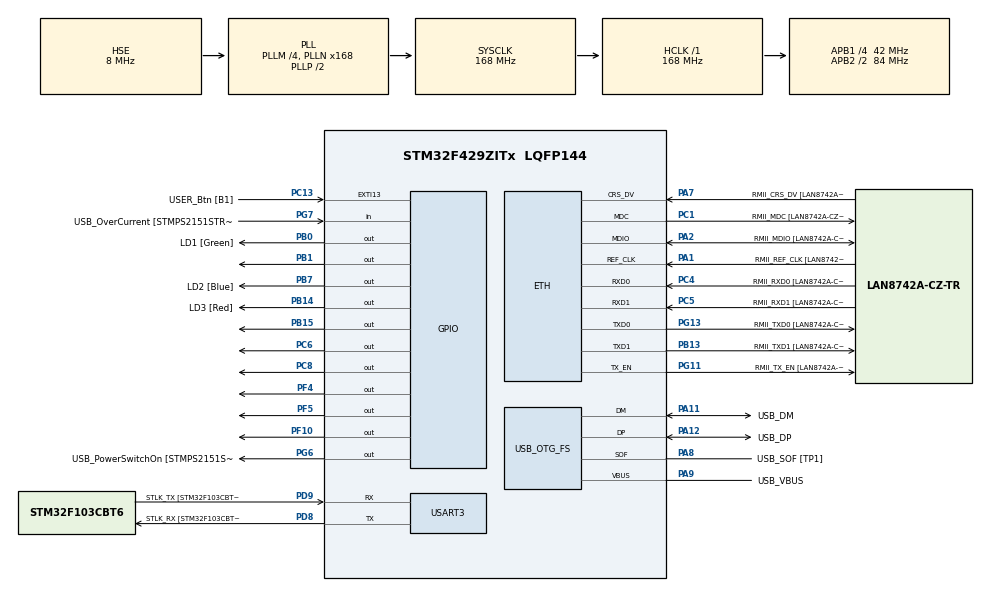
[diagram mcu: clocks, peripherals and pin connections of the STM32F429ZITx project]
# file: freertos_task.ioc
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ETH.MediaInterface=HAL_ETH_RMII_MODE
ETH.PHY_Name=LAN8742A_PHY_ADDRESS
ETH.PHY_Value=0
ETH.PhyAddress=0
FREERTOS.INCLUDE_vTaskDelayUntil=1
FREERTOS.Queues01=myQueue01,16,Data_t,0,Dynamic,NULL,NULL
FREERTOS.Tasks01=defaultTask,0,128,StartDefaultTask,Default,NULL,Dynamic,NULL,NULL;myTask01,0,128,StartTask01,Default,NULL,Dynamic,NULL,NULL;myTask02,0,128,StartTask02,Default,NULL,Dynamic,NULL,NULL;myTask03,0,128,StartTask03,Default,NULL,Dynamic,NULL,NULL;myTask04,-1,128,StartTask04,Default,NULL,Static,myTask04Buffer,myTask04ControlBlock
FREERTOS.configUSE_APPLICATION_TASK_TAG=1
FREERTOS.configUSE_IDLE_HOOK=1
FREERTOS.configUSE_NEWLIB_REENTRANT=1
FREERTOS.configUSE_TICK_HOOK=1
Mcu.Family=STM32F4
Mcu.Name=STM32F429ZITx
Mcu.Package=LQFP144
NVIC.PriorityGroup=NVIC_PRIORITYGROUP_4
PA1.GPIO_Label=RMII_REF_CLK [LAN8742A-CZ-TR_REFCLK0]
PA1.Mode=RMII
PA1.Signal=ETH_REF_CLK
PA10.GPIO_Label=USB_ID
PA10.Signal=USB_OTG_FS_ID
PA11.GPIO_Label=USB_DM
PA11.Mode=Device_Only
PA11.Signal=USB_OTG_FS_DM
PA12.GPIO_Label=USB_DP
PA12.Mode=Device_Only
PA12.Signal=USB_OTG_FS_DP
PA13.GPIO_Label=TMS
PA13.Mode=Serial_Wire
PA13.Signal=SYS_JTMS-SWDIO
PA14.GPIO_Label=TCK
PA14.Mode=Serial_Wire
PA14.Signal=SYS_JTCK-SWCLK
PA2.GPIO_Label=RMII_MDIO [LAN8742A-CZ-TR_MDIO]
PA2.Mode=RMII
PA2.Signal=ETH_MDIO
PA7.GPIO_Label=RMII_CRS_DV [LAN8742A-CZ-TR_CRS_DV]
PA7.Mode=RMII
PA7.Signal=ETH_CRS_DV
PA8.GPIO_Label=USB_SOF [TP1]
PA8.Mode=Activate_SOF_FS
PA8.Signal=USB_OTG_FS_SOF
PA9.GPIO_Label=USB_VBUS
PA9.Mode=Activate_VBUS
PA9.Signal=USB_OTG_FS_VBUS
PB0.GPIO_Label=LD1 [Green]
PB0.Signal=GPIO_Output
PB1.Signal=GPIO_Output
PB13.GPIO_Label=RMII_TXD1 [LAN8742A-CZ-TR_TXD1]
PB13.Mode=RMII
PB13.Signal=ETH_TXD1
PB14.GPIO_Label=LD3 [Red]
PB14.Signal=GPIO_Output
PB15.Signal=GPIO_Output
PB7.GPIO_Label=LD2 [Blue]
PB7.Signal=GPIO_Output
PC1.GPIO_Label=RMII_MDC [LAN8742A-CZ-TR_MDC]
PC1.Mode=RMII
PC1.Signal=ETH_MDC
PC13.GPIO_Label=USER_Btn [B1]
PC13.Signal=GPXTI13
PC14/OSC32_IN.Mode=LSE-External-Oscillator
PC14/OSC32_IN.Signal=RCC_OSC32_IN
PC15/OSC32_OUT.Mode=LSE-External-Oscillator
PC15/OSC32_OUT.Signal=RCC_OSC32_OUT
PC4.GPIO_Label=RMII_RXD0 [LAN8742A-CZ-TR_RXD0]
PC4.Mode=RMII
PC4.Signal=ETH_RXD0
PC5.GPIO_Label=RMII_RXD1 [LAN8742A-CZ-TR_RXD1]
PC5.Mode=RMII
PC5.Signal=ETH_RXD1
PC6.Signal=GPIO_Output
PC8.Signal=GPIO_Output
PD8.GPIO_Label=STLK_RX [STM32F103CBT6_PA3]
PD8.Mode=Asynchronous
PD8.Signal=USART3_TX
PD9.GPIO_Label=STLK_TX [STM32F103CBT6_PA2]
PD9.Mode=Asynchronous
PD9.Signal=USART3_RX
PF10.Signal=GPIO_Output
PF4.Signal=GPIO_Output
PF5.Signal=GPIO_Output
PG11.GPIO_Label=RMII_TX_EN [LAN8742A-CZ-TR_TXEN]
PG11.Mode=RMII
PG11.Signal=ETH_TX_EN
PG13.GPIO_Label=RMII_TXD0 [LAN8742A-CZ-TR_TXD0]
PG13.Mode=RMII
PG13.Signal=ETH_TXD0
PG6.GPIO_Label=USB_PowerSwitchOn [STMPS2151STR_EN]
PG6.Signal=GPIO_Output
PG7.GPIO_Label=USB_OverCurrent [STMPS2151STR_FAULT]
PG7.Signal=GPIO_Input
PH0/OSC_IN.GPIO_Label=MCO [STM32F103CBT6_PA8]
PH0/OSC_IN.Mode=HSE-External-Clock-Source
PH0/OSC_IN.Signal=RCC_OSC_IN
PH1/OSC_OUT.Mode=HSE-External-Clock-Source
PH1/OSC_OUT.Signal=RCC_OSC_OUT
ProjectManager.HeapSize=0x200
ProjectManager.StackSize=0x400
ProjectManager.TargetToolchain=STM32CubeIDE
RCC.48MHZClocksFreq_Value=48000000
RCC.AHBFreq_Value=168000000
RCC.APB1CLKDivider=RCC_HCLK_DIV4
RCC.APB1Freq_Value=42000000
RCC.APB1TimFreq_Value=84000000
RCC.APB2CLKDivider=RCC_HCLK_DIV2
RCC.APB2Freq_Value=84000000
RCC.APB2TimCLKDivider=2
RCC.APB2TimFreq_Value=168000000
RCC.CortexFreq_Value=168000000
RCC.HCLKFreq_Value=168000000
RCC.HSE_VALUE=8000000
RCC.HSI_VALUE=16000000
RCC.PLLM=4
RCC.PLLMUL=RCC_PLL_MUL9
RCC.PLLN=168
RCC.PLLQ=7
RCC.PRESCALERUSB=RCC_USBCLKSOURCE_PLL_DIV1_5
RCC.SYSCLKFreq_VALUE=168000000
RCC.SYSCLKSource=RCC_SYSCLKSOURCE_PLLCLK
RCC.SYSCLKSourceVirtual=RCC_SYSCLKSOURCE_PLLCLK
RCC.USBFreq_Value=48000000
RCC.VCOOutputFreq_Value=336000000
USART3.VirtualMode=VM_ASYNC
USB_OTG_FS.VirtualMode=Device_Only
VP_FREERTOS_VS_CMSIS_V1.Mode=CMSIS_V1
board=NUCLEO-F429ZI

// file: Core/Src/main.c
/* USER CODE BEGIN Header */
/**
  ******************************************************************************
  * @file           : main.c
  * @brief          : Main program body
  ******************************************************************************
  * @attention
  *
  * Copyright (c) 2024 STMicroelectronics.
  * All rights reserved.
  *
  * This software is licensed under terms that can be found in the LICENSE file
  * in the root directory of this software component.
  * If no LICENSE file comes with this software, it is provided AS-IS.
  *
  ******************************************************************************
  */
/* USER CODE END Header */
#include "main.h"
#include "string.h"
#include "cmsis_os.h"

/* USER CODE BEGIN Includes */
#include <stdbool.h>
#include "task.h"
/* USER CODE END Includes */

ETH_TxPacketConfig TxConfig;
ETH_DMADescTypeDef  DMARxDscrTab[ETH_RX_DESC_CNT]; /* Ethernet Rx DMA Descriptors */
ETH_DMADescTypeDef  DMATxDscrTab[ETH_TX_DESC_CNT]; /* Ethernet Tx DMA Descriptors */

ETH_HandleTypeDef heth;

UART_HandleTypeDef huart3;

PCD_HandleTypeDef hpcd_USB_OTG_FS;

osThreadId defaultTaskHandle;
osThreadId myTask01Handle;
osThreadId myTask02Handle;
osThreadId myTask03Handle;
osThreadId myTask04Handle;
uint32_t myTask04Buffer[ 128 ];
osStaticThreadDef_t myTask04ControlBlock;
osMessageQId myQueue01Handle;
/* USER CODE BEGIN PV */
uint8_t task1 = 0;
uint8_t task2 = 0;
uint8_t task3 = 0;
uint8_t task4 = 0;
uint8_t counter = 0;
#define TASK_DEBUG
/* USER CODE END PV */

void SystemClock_Config(void);
static void MX_GPIO_Init(void);
static void MX_ETH_Init(void);
static void MX_USART3_UART_Init(void);
static void MX_USB_OTG_FS_PCD_Init(void);
void StartDefaultTask(void const * argument);
void StartTask01(void const * argument);
void StartTask02(void const * argument);
void StartTask03(void const * argument);
void StartTask04(void const * argument);

/* USER CODE BEGIN 0 */
typedef enum
{
	led1,
	led2,
	led3
}DataDescripton_t;
typedef struct
{
	DataDescripton_t eDatadescription;
	uint16_t ucValue;
}Data_t;
/* USER CODE END 0 */

int main(void)
{

  /* MCU Configuration--------------------------------------------------------*/

  /* Reset of all peripherals, Initializes the Flash interface and the Systick. */
  HAL_Init();

  /* Configure the system clock */
  SystemClock_Config();

  /* Initialize all configured peripherals */
  MX_GPIO_Init();
  MX_ETH_Init();
  MX_USART3_UART_Init();
  MX_USB_OTG_FS_PCD_Init();

  /* Create the queue(s) */
  /* definition and creation of myQueue01 */
  osMessageQDef(myQueue01, 16, Data_t);
  myQueue01Handle = osMessageCreate(osMessageQ(myQueue01), NULL);

  /* Create the thread(s) */
  /* definition and creation of defaultTask */
  osThreadDef(defaultTask, StartDefaultTask, osPriorityNormal, 0, 128);
  defaultTaskHandle = osThreadCreate(osThread(defaultTask), NULL);

  /* definition and creation of myTask01 */
  osThreadDef(myTask01, StartTask01, osPriorityNormal, 0, 128);
  myTask01Handle = osThreadCreate(osThread(myTask01), NULL);

  /* definition and creation of myTask02 */
  osThreadDef(myTask02, StartTask02, osPriorityNormal, 0, 128);
  myTask02Handle = osThreadCreate(osThread(myTask02), NULL);

  /* definition and creation of myTask03 */
  osThreadDef(myTask03, StartTask03, osPriorityNormal, 0, 128);
  myTask03Handle = osThreadCreate(osThread(myTask03), NULL);

  /* definition and creation of myTask04 */
  osThreadStaticDef(myTask04, StartTask04, osPriorityBelowNormal, 0, 128, myTask04Buffer, &myTask04ControlBlock);
  myTask04Handle = osThreadCreate(osThread(myTask04), NULL);

  /* Start scheduler */
  osKernelStart();

  /* We should never get here as control is now taken by the scheduler */
  /* Infinite loop */
  while (1)
  {

  }
}

void SystemClock_Config(void)
{
  RCC_OscInitTypeDef RCC_OscInitStruct = {0};
  RCC_ClkInitTypeDef RCC_ClkInitStruct = {0};

  /** Configure the main internal regulator output voltage
  */
  __HAL_RCC_PWR_CLK_ENABLE();
  __HAL_PWR_VOLTAGESCALING_CONFIG(PWR_REGULATOR_VOLTAGE_SCALE1);

  /** Initializes the RCC Oscillators according to the specified parameters
  * in the RCC_OscInitTypeDef structure.
  */
  RCC_OscInitStruct.OscillatorType = RCC_OSCILLATORTYPE_HSE;
  RCC_OscInitStruct.HSEState = RCC_HSE_BYPASS;
  RCC_OscInitStruct.PLL.PLLState = RCC_PLL_ON;
  RCC_OscInitStruct.PLL.PLLSource = RCC_PLLSOURCE_HSE;
  RCC_OscInitStruct.PLL.PLLM = 4;
  RCC_OscInitStruct.PLL.PLLN = 168;
  RCC_OscInitStruct.PLL.PLLP = RCC_PLLP_DIV2;
  RCC_OscInitStruct.PLL.PLLQ = 7;
  if (HAL_RCC_OscConfig(&RCC_OscInitStruct) != HAL_OK)
  {
    Error_Handler();
  }

  /** Initializes the CPU, AHB and APB buses clocks
  */
  RCC_ClkInitStruct.ClockType = RCC_CLOCKTYPE_HCLK|RCC_CLOCKTYPE_SYSCLK
                              |RCC_CLOCKTYPE_PCLK1|RCC_CLOCKTYPE_PCLK2;
  RCC_ClkInitStruct.SYSCLKSource = RCC_SYSCLKSOURCE_PLLCLK;
  RCC_ClkInitStruct.AHBCLKDivider = RCC_SYSCLK_DIV1;
  RCC_ClkInitStruct.APB1CLKDivider = RCC_HCLK_DIV4;
  RCC_ClkInitStruct.APB2CLKDivider = RCC_HCLK_DIV2;

  if (HAL_RCC_ClockConfig(&RCC_ClkInitStruct, FLASH_LATENCY_5) != HAL_OK)
  {
    Error_Handler();
  }
}

static void MX_ETH_Init(void)
{

   static uint8_t MACAddr[6];

  heth.Instance = ETH;
  MACAddr[0] = 0x00;
  MACAddr[1] = 0x80;
  MACAddr[2] = 0xE1;
  MACAddr[3] = 0x00;
  MACAddr[4] = 0x00;
  MACAddr[5] = 0x00;
  heth.Init.MACAddr = &MACAddr[0];
  heth.Init.MediaInterface = HAL_ETH_RMII_MODE;
  heth.Init.TxDesc = DMATxDscrTab;
  heth.Init.RxDesc = DMARxDscrTab;
  heth.Init.RxBuffLen = 1524;

  if (HAL_ETH_Init(&heth) != HAL_OK)
  {
    Error_Handler();
  }

  memset(&TxConfig, 0 , sizeof(ETH_TxPacketConfig));
  TxConfig.Attributes = ETH_TX_PACKETS_FEATURES_CSUM | ETH_TX_PACKETS_FEATURES_CRCPAD;
  TxConfig.ChecksumCtrl = ETH_CHECKSUM_IPHDR_PAYLOAD_INSERT_PHDR_CALC;
  TxConfig.CRCPadCtrl = ETH_CRC_PAD_INSERT;

}

static void MX_USART3_UART_Init(void)
{

  huart3.Instance = USART3;
  huart3.Init.BaudRate = 115200;
  huart3.Init.WordLength = UART_WORDLENGTH_8B;
  huart3.Init.StopBits = UART_STOPBITS_1;
  huart3.Init.Parity = UART_PARITY_NONE;
  huart3.Init.Mode = UART_MODE_TX_RX;
  huart3.Init.HwFlowCtl = UART_HWCONTROL_NONE;
  huart3.Init.OverSampling = UART_OVERSAMPLING_16;
  if (HAL_UART_Init(&huart3) != HAL_OK)
  {
    Error_Handler();
  }

}

static void MX_USB_OTG_FS_PCD_Init(void)
{

  hpcd_USB_OTG_FS.Instance = USB_OTG_FS;
  hpcd_USB_OTG_FS.Init.dev_endpoints = 4;
  hpcd_USB_OTG_FS.Init.speed = PCD_SPEED_FULL;
  hpcd_USB_OTG_FS.Init.dma_enable = DISABLE;
  hpcd_USB_OTG_FS.Init.phy_itface = PCD_PHY_EMBEDDED;
  hpcd_USB_OTG_FS.Init.Sof_enable = ENABLE;
  hpcd_USB_OTG_FS.Init.low_power_enable = DISABLE;
  hpcd_USB_OTG_FS.Init.lpm_enable = DISABLE;
  hpcd_USB_OTG_FS.Init.vbus_sensing_enable = ENABLE;
  hpcd_USB_OTG_FS.Init.use_dedicated_ep1 = DISABLE;
  if (HAL_PCD_Init(&hpcd_USB_OTG_FS) != HAL_OK)
  {
    Error_Handler();
  }

}

static void MX_GPIO_Init(void)
{
  GPIO_InitTypeDef GPIO_InitStruct = {0};

  /* GPIO Ports Clock Enable */
  __HAL_RCC_GPIOC_CLK_ENABLE();
  __HAL_RCC_GPIOF_CLK_ENABLE();
  __HAL_RCC_GPIOH_CLK_ENABLE();
  __HAL_RCC_GPIOA_CLK_ENABLE();
  __HAL_RCC_GPIOB_CLK_ENABLE();
  __HAL_RCC_GPIOD_CLK_ENABLE();
  __HAL_RCC_GPIOG_CLK_ENABLE();

  /*Configure GPIO pin Output Level */
  HAL_GPIO_WritePin(GPIOF, GPIO_PIN_4|GPIO_PIN_5|GPIO_PIN_10, GPIO_PIN_RESET);

  /*Configure GPIO pin Output Level */
  HAL_GPIO_WritePin(GPIOB, LD1_Pin|GPIO_PIN_1|LD3_Pin|GPIO_PIN_15
                          |LD2_Pin, GPIO_PIN_RESET);

  /*Configure GPIO pin Output Level */
  HAL_GPIO_WritePin(USB_PowerSwitchOn_GPIO_Port, USB_PowerSwitchOn_Pin, GPIO_PIN_RESET);

  /*Configure GPIO pin Output Level */
  HAL_GPIO_WritePin(GPIOC, GPIO_PIN_6|GPIO_PIN_8, GPIO_PIN_RESET);

  /*Configure GPIO pin : USER_Btn_Pin */
  GPIO_InitStruct.Pin = USER_Btn_Pin;
  GPIO_InitStruct.Mode = GPIO_MODE_IT_RISING;
  GPIO_InitStruct.Pull = GPIO_NOPULL;
  HAL_GPIO_Init(USER_Btn_GPIO_Port, &GPIO_InitStruct);

  /*Configure GPIO pins : PF4 PF5 PF10 */
  GPIO_InitStruct.Pin = GPIO_PIN_4|GPIO_PIN_5|GPIO_PIN_10;
  GPIO_InitStruct.Mode = GPIO_MODE_OUTPUT_PP;
  GPIO_InitStruct.Pull = GPIO_NOPULL;
  GPIO_InitStruct.Speed = GPIO_SPEED_FREQ_LOW;
  HAL_GPIO_Init(GPIOF, &GPIO_InitStruct);

  /*Configure GPIO pins : LD1_Pin PB1 LD3_Pin PB15
                           LD2_Pin */
  GPIO_InitStruct.Pin = LD1_Pin|GPIO_PIN_1|LD3_Pin|GPIO_PIN_15
                          |LD2_Pin;
  GPIO_InitStruct.Mode = GPIO_MODE_OUTPUT_PP;
  GPIO_InitStruct.Pull = GPIO_NOPULL;
  GPIO_InitStruct.Speed = GPIO_SPEED_FREQ_LOW;
  HAL_GPIO_Init(GPIOB, &GPIO_InitStruct);

  /*Configure GPIO pin : USB_PowerSwitchOn_Pin */
  GPIO_InitStruct.Pin = USB_PowerSwitchOn_Pin;
  GPIO_InitStruct.Mode = GPIO_MODE_OUTPUT_PP;
  GPIO_InitStruct.Pull = GPIO_NOPULL;
  GPIO_InitStruct.Speed = GPIO_SPEED_FREQ_LOW;
  HAL_GPIO_Init(USB_PowerSwitchOn_GPIO_Port, &GPIO_InitStruct);

  /*Configure GPIO pin : USB_OverCurrent_Pin */
  GPIO_InitStruct.Pin = USB_OverCurrent_Pin;
  GPIO_InitStruct.Mode = GPIO_MODE_INPUT;
  GPIO_InitStruct.Pull = GPIO_NOPULL;
  HAL_GPIO_Init(USB_OverCurrent_GPIO_Port, &GPIO_InitStruct);

  /*Configure GPIO pins : PC6 PC8 */
  GPIO_InitStruct.Pin = GPIO_PIN_6|GPIO_PIN_8;
  GPIO_InitStruct.Mode = GPIO_MODE_OUTPUT_PP;
  GPIO_InitStruct.Pull = GPIO_NOPULL;
  GPIO_InitStruct.Speed = GPIO_SPEED_FREQ_LOW;
  HAL_GPIO_Init(GPIOC, &GPIO_InitStruct);

}

/* USER CODE BEGIN 4 */
void TaskSwitchedIn(int tag)
{
#ifdef TASK_DEBUG
	switch (tag)
	{
	case 1:
		GPIOC->BSRR = GPIO_PIN_8;
		break;
	case 2:
		GPIOC->BSRR = GPIO_PIN_6;
		break;
	case 3:
		GPIOB->BSRR = GPIO_PIN_15;
		break;
	case 4:
		GPIOF->BSRR = GPIO_PIN_5;
		break;
	}
#endif // TASK_DEBUG
}
void TaskSwitchedOut(int tag)
{
#ifdef TASK_DEBUG
	switch (tag)
	{
	case 1:
		GPIOC->BSRR = (uint32_t)GPIO_PIN_8 << 16U;
		break;
	case 2:
		GPIOC->BSRR = (uint32_t)GPIO_PIN_6 << 16U;
		break;
	case 3:
		GPIOB->BSRR = (uint32_t)GPIO_PIN_15 << 16U;
		break;
	case 4:
		GPIOF->BSRR = (uint32_t)GPIO_PIN_5 << 16U;
		break;
	}
#endif // TASK_DEBUG
}
/* USER CODE END 4 */

void StartDefaultTask(void const * argument)
{
  for(;;)
  {
    osDelay(1);
  }
}

void StartTask01(void const * argument)
{
  /* USER CODE BEGIN StartTask01 */
#ifdef TASK_DEBUG
	vTaskSetApplicationTaskTag(NULL,(void*)1);
#endif // TASK_DEBUG

	TickType_t xLastWakeTime;
	xLastWakeTime = xTaskGetTickCount();

  /* Infinite loop */
  for(;;)
  {
	  osDelay(20);
	  //vTaskDelayUntil(&xLastWakeTime, pdMS_TO_TICKS(10));
	//  counter++;

  }
  /* USER CODE END StartTask01 */
}

void StartTask02(void const * argument)
{
  /* USER CODE BEGIN StartTask02 */
#ifdef TASK_DEBUG
	vTaskSetApplicationTaskTag(NULL, (void*)2);
#endif // TASK_DEBUG

	TickType_t xLastWakeTime;
	xLastWakeTime = xTaskGetTickCount();
  /* Infinite loop */
  for(;;)
  {
	  osDelay(20);
	  //vTaskDelayUntil(&xLastWakeTime, pdMS_TO_TICKS(25));
  }
  /* USER CODE END StartTask02 */
}

void StartTask03(void const * argument)
{
  /* USER CODE BEGIN StartTask03 */
#ifdef TASK_DEBUG
	vTaskSetApplicationTaskTag(NULL, (void*)3);
#endif // TASK_DEBUG
	TickType_t xLastWakeTime;
	xLastWakeTime = xTaskGetTickCount();
  /* Infinite loop */
  for(;;)
  {
	  osDelay(20);
	  //vTaskDelayUntil(&xLastWakeTime, pdMS_TO_TICKS(50));
  }
  /* USER CODE END StartTask03 */
}

void StartTask04(void const * argument)
{
  /* USER CODE BEGIN StartTask04 */
#ifdef TASK_DEBUG
	vTaskSetApplicationTaskTag(NULL, (void*)4);
#endif // TASK_DEBUG
	TickType_t xLastWakeTime;
	xLastWakeTime = xTaskGetTickCount();
  /* Infinite loop */
  for(;;)
  {
	  osDelay(20);
	  //vTaskDelayUntil(&xLastWakeTime, pdMS_TO_TICKS(2));
  }
  /* USER CODE END StartTask04 */
}

void Error_Handler(void)
{
  __disable_irq();
  while (1)
  {
  }
}

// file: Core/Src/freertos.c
/* USER CODE BEGIN Header */
/**
  ******************************************************************************
  * File Name          : freertos.c
  * Description        : Code for freertos applications
  ******************************************************************************
  * @attention
  *
  * Copyright (c) 2024 STMicroelectronics.
  * All rights reserved.
  *
  * This software is licensed under terms that can be found in the LICENSE file
  * in the root directory of this software component.
  * If no LICENSE file comes with this software, it is provided AS-IS.
  *
  ******************************************************************************
  */
/* USER CODE END Header */

#include "FreeRTOS.h"
#include "task.h"
#include "main.h"

/* GetIdleTaskMemory prototype (linked to static allocation support) */
void vApplicationGetIdleTaskMemory( StaticTask_t **ppxIdleTaskTCBBuffer, StackType_t **ppxIdleTaskStackBuffer, uint32_t *pulIdleTaskStackSize );

/* Hook prototypes */
void vApplicationIdleHook(void);
void vApplicationTickHook(void);

/* USER CODE BEGIN 2 */
__weak void vApplicationIdleHook( void )
{
	GPIOF->BSRR = GPIO_PIN_10;
	__NOP();
	GPIOF->BSRR = (uint32_t)GPIO_PIN_10 << 16U;
   /* vApplicationIdleHook() will only be called if configUSE_IDLE_HOOK is set
   to 1 in FreeRTOSConfig.h. It will be called on each iteration of the idle
   task. It is essential that code added to this hook function never attempts
   to block in any way (for example, call xQueueReceive() with a block time
   specified, or call vTaskDelay()). If the application makes use of the
   vTaskDelete() API function (as this demo application does) then it is also
   important that vApplicationIdleHook() is permitted to return to its calling
   function, because it is the responsibility of the idle task to clean up
   memory allocated by the kernel to any task that has since been deleted. */
}
/* USER CODE END 2 */

/* USER CODE BEGIN 3 */
__weak void vApplicationTickHook( void )
{
   /* This function will be called by each tick interrupt if
   configUSE_TICK_HOOK is set to 1 in FreeRTOSConfig.h. User code can be
   added here, but the tick hook is called from an interrupt context, so
   code must not attempt to block, and only the interrupt safe FreeRTOS API
   functions can be used (those that end in FromISR()). */
}
/* USER CODE END 3 */

/* USER CODE BEGIN GET_IDLE_TASK_MEMORY */
static StaticTask_t xIdleTaskTCBBuffer;
static StackType_t xIdleStack[configMINIMAL_STACK_SIZE];

void vApplicationGetIdleTaskMemory( StaticTask_t **ppxIdleTaskTCBBuffer, StackType_t **ppxIdleTaskStackBuffer, uint32_t *pulIdleTaskStackSize )
{
  *ppxIdleTaskTCBBuffer = &xIdleTaskTCBBuffer;
  *ppxIdleTaskStackBuffer = &xIdleStack[0];
  *pulIdleTaskStackSize = configMINIMAL_STACK_SIZE;
  /* place for user code */
}
/* USER CODE END GET_IDLE_TASK_MEMORY */
